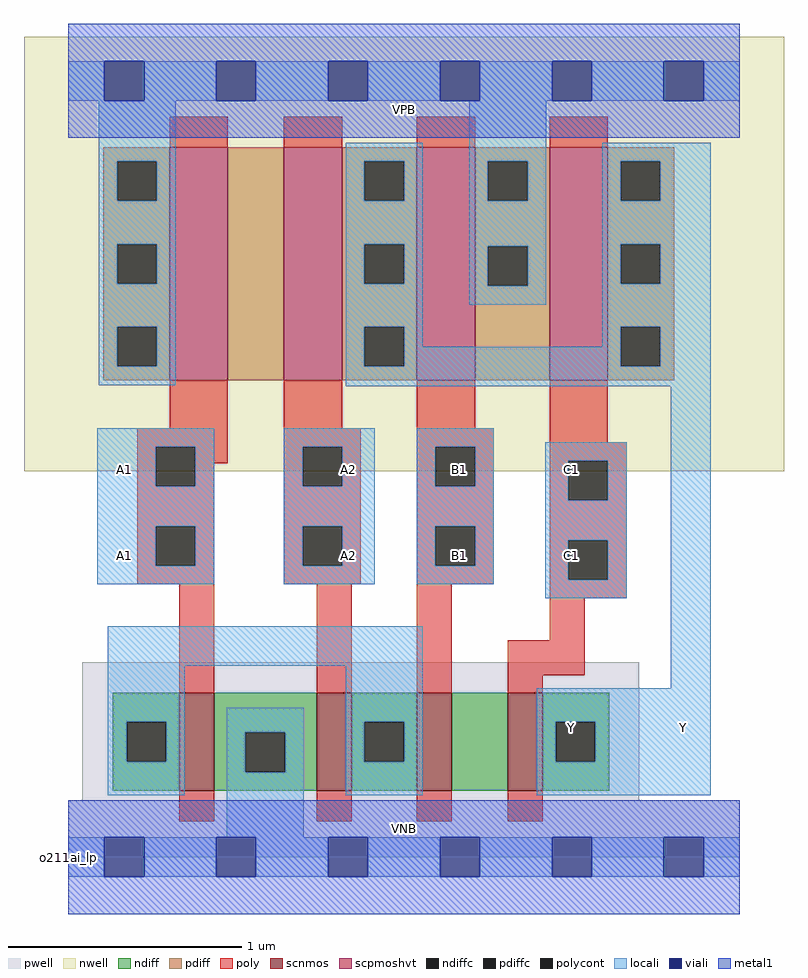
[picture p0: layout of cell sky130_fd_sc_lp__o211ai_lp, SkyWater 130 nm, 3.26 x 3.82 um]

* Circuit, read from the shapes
.subckt sky130_fd_sc_lp__o211ai_lp A1 A2 B1 C1 VGND VNB VPB VPWR Y
XM1 VGND A1 n1 VNB sky130_fd_pr__nfet_01v8 w=0.42 l=0.15
XM2 n1 A2 VGND VNB sky130_fd_pr__nfet_01v8 w=0.42 l=0.15
XM3 n2 B1 n1 VNB sky130_fd_pr__nfet_01v8 w=0.42 l=0.15
XM4 Y C1 n2 VNB sky130_fd_pr__nfet_01v8 w=0.42 l=0.15
XM5 n3 A1 VPWR VPB sky130_fd_pr__pfet_01v8_hvt w=1 l=0.25
XM6 Y A2 n3 VPB sky130_fd_pr__pfet_01v8_hvt w=1 l=0.25
XM7 VPWR B1 Y VPB sky130_fd_pr__pfet_01v8_hvt w=1 l=0.25
XM8 Y C1 VPWR VPB sky130_fd_pr__pfet_01v8_hvt w=1 l=0.25
.ends

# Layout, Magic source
magic
tech sky130A
magscale 1 2
<< nwell >>
rect -38 331 614 704
<< pwell >>
rect 12 49 490 167
rect 0 0 576 49
<< scnmos >>
rect 95 57 125 141
rect 213 57 243 141
rect 299 57 329 141
rect 377 57 407 141
<< scpmoshvt >>
rect 87 409 137 609
rect 185 409 235 609
rect 299 409 349 609
rect 413 409 463 609
<< ndiff >>
rect 38 116 95 141
rect 38 82 50 116
rect 84 82 95 116
rect 38 57 95 82
rect 125 107 213 141
rect 125 73 152 107
rect 186 73 213 107
rect 125 57 213 73
rect 243 116 299 141
rect 243 82 254 116
rect 288 82 299 116
rect 243 57 299 82
rect 329 57 377 141
rect 407 116 464 141
rect 407 82 418 116
rect 452 82 464 116
rect 407 57 464 82
<< pdiff >>
rect 30 597 87 609
rect 30 563 42 597
rect 76 563 87 597
rect 30 526 87 563
rect 30 492 42 526
rect 76 492 87 526
rect 30 455 87 492
rect 30 421 42 455
rect 76 421 87 455
rect 30 409 87 421
rect 137 409 185 609
rect 235 597 299 609
rect 235 563 254 597
rect 288 563 299 597
rect 235 526 299 563
rect 235 492 254 526
rect 288 492 299 526
rect 235 455 299 492
rect 235 421 254 455
rect 288 421 299 455
rect 235 409 299 421
rect 349 597 413 609
rect 349 563 360 597
rect 394 563 413 597
rect 349 524 413 563
rect 349 490 360 524
rect 394 490 413 524
rect 349 409 413 490
rect 463 597 520 609
rect 463 563 474 597
rect 508 563 520 597
rect 463 526 520 563
rect 463 492 474 526
rect 508 492 520 526
rect 463 455 520 492
rect 463 421 474 455
rect 508 421 520 455
rect 463 409 520 421
<< ndiffc >>
rect 50 82 84 116
rect 152 73 186 107
rect 254 82 288 116
rect 418 82 452 116
<< pdiffc >>
rect 42 563 76 597
rect 42 492 76 526
rect 42 421 76 455
rect 254 563 288 597
rect 254 492 288 526
rect 254 421 288 455
rect 360 563 394 597
rect 360 490 394 524
rect 474 563 508 597
rect 474 492 508 526
rect 474 421 508 455
<< poly >>
rect 87 609 137 635
rect 185 609 235 635
rect 299 609 349 635
rect 413 609 463 635
rect 87 368 137 409
rect 59 352 137 368
rect 59 318 75 352
rect 109 338 137 352
rect 185 368 235 409
rect 299 368 349 409
rect 185 352 251 368
rect 109 318 125 338
rect 59 284 125 318
rect 59 250 75 284
rect 109 250 125 284
rect 59 234 125 250
rect 185 318 201 352
rect 235 318 251 352
rect 185 284 251 318
rect 185 250 201 284
rect 235 250 251 284
rect 185 234 251 250
rect 299 352 365 368
rect 299 318 315 352
rect 349 318 365 352
rect 299 284 365 318
rect 299 250 315 284
rect 349 250 365 284
rect 299 234 365 250
rect 413 356 463 409
rect 413 340 479 356
rect 413 306 429 340
rect 463 306 479 340
rect 413 272 479 306
rect 413 238 429 272
rect 463 238 479 272
rect 95 141 125 234
rect 213 141 243 234
rect 299 141 329 234
rect 413 222 479 238
rect 413 186 443 222
rect 377 156 443 186
rect 377 141 407 156
rect 95 31 125 57
rect 213 31 243 57
rect 299 31 329 57
rect 377 31 407 57
<< polycont >>
rect 75 318 109 352
rect 75 250 109 284
rect 201 318 235 352
rect 201 250 235 284
rect 315 318 349 352
rect 315 250 349 284
rect 429 306 463 340
rect 429 238 463 272
<< locali >>
rect 0 649 31 683
rect 65 649 127 683
rect 161 649 223 683
rect 257 649 319 683
rect 353 649 415 683
rect 449 649 511 683
rect 545 649 576 683
rect 26 597 92 649
rect 26 563 42 597
rect 76 563 92 597
rect 26 526 92 563
rect 26 492 42 526
rect 76 492 92 526
rect 26 455 92 492
rect 26 421 42 455
rect 76 421 92 455
rect 26 405 92 421
rect 238 597 304 613
rect 238 563 254 597
rect 288 563 304 597
rect 238 526 304 563
rect 238 492 254 526
rect 288 492 304 526
rect 238 455 304 492
rect 344 597 410 649
rect 344 563 360 597
rect 394 563 410 597
rect 344 524 410 563
rect 344 490 360 524
rect 394 490 410 524
rect 344 474 410 490
rect 458 597 551 613
rect 458 563 474 597
rect 508 563 551 597
rect 458 526 551 563
rect 458 492 474 526
rect 508 492 551 526
rect 238 421 254 455
rect 288 438 304 455
rect 458 455 551 492
rect 458 438 474 455
rect 288 421 474 438
rect 508 421 551 455
rect 238 404 551 421
rect 25 352 125 368
rect 25 318 75 352
rect 109 318 125 352
rect 25 284 125 318
rect 25 250 75 284
rect 109 250 125 284
rect 25 234 125 250
rect 185 352 263 368
rect 185 318 201 352
rect 235 318 263 352
rect 185 284 263 318
rect 185 250 201 284
rect 235 250 263 284
rect 185 234 263 250
rect 299 352 365 368
rect 299 318 315 352
rect 349 318 365 352
rect 299 284 365 318
rect 299 250 315 284
rect 349 250 365 284
rect 299 234 365 250
rect 409 340 479 356
rect 409 306 429 340
rect 463 306 479 340
rect 409 272 479 306
rect 409 238 429 272
rect 463 238 479 272
rect 409 222 479 238
rect 34 164 304 198
rect 34 116 100 164
rect 34 82 50 116
rect 84 82 100 116
rect 34 53 100 82
rect 136 107 202 128
rect 136 73 152 107
rect 186 73 202 107
rect 136 17 202 73
rect 238 116 304 164
rect 517 145 551 404
rect 238 82 254 116
rect 288 82 304 116
rect 238 53 304 82
rect 402 116 551 145
rect 402 82 418 116
rect 452 82 551 116
rect 402 53 551 82
rect 0 -17 31 17
rect 65 -17 127 17
rect 161 -17 223 17
rect 257 -17 319 17
rect 353 -17 415 17
rect 449 -17 511 17
rect 545 -17 576 17
<< viali >>
rect 31 649 65 683
rect 127 649 161 683
rect 223 649 257 683
rect 319 649 353 683
rect 415 649 449 683
rect 511 649 545 683
rect 31 -17 65 17
rect 127 -17 161 17
rect 223 -17 257 17
rect 319 -17 353 17
rect 415 -17 449 17
rect 511 -17 545 17
<< metal1 >>
rect 0 683 576 715
rect 0 649 31 683
rect 65 649 127 683
rect 161 649 223 683
rect 257 649 319 683
rect 353 649 415 683
rect 449 649 511 683
rect 545 649 576 683
rect 0 617 576 649
rect 0 17 576 49
rect 0 -17 31 17
rect 65 -17 127 17
rect 161 -17 223 17
rect 257 -17 319 17
rect 353 -17 415 17
rect 449 -17 511 17
rect 545 -17 576 17
rect 0 -49 576 -17
<< labels >>
flabel pwell s 0 0 576 49 0 FreeSans 200 0 0 0 VNB
port 6 nsew ground bidirectional
flabel nwell s 0 617 576 666 0 FreeSans 200 0 0 0 VPB
port 7 nsew power bidirectional
rlabel comment s 0 0 0 0 4 o211ai_lp
flabel metal1 s 0 617 576 666 0 FreeSans 340 0 0 0 VPWR
port 8 nsew power bidirectional
flabel metal1 s 0 0 576 49 0 FreeSans 340 0 0 0 VGND
port 5 nsew ground bidirectional
flabel locali s 415 242 449 276 0 FreeSans 340 0 0 0 C1
port 4 nsew signal input
flabel locali s 415 316 449 350 0 FreeSans 340 0 0 0 C1
port 4 nsew signal input
flabel locali s 319 242 353 276 0 FreeSans 340 0 0 0 B1
port 3 nsew signal input
flabel locali s 319 316 353 350 0 FreeSans 340 0 0 0 B1
port 3 nsew signal input
flabel locali s 223 242 257 276 0 FreeSans 340 0 0 0 A2
port 2 nsew signal input
flabel locali s 223 316 257 350 0 FreeSans 340 0 0 0 A2
port 2 nsew signal input
flabel locali s 31 242 65 276 0 FreeSans 340 0 0 0 A1
port 1 nsew signal input
flabel locali s 31 316 65 350 0 FreeSans 340 0 0 0 A1
port 1 nsew signal input
flabel locali s 415 94 449 128 0 FreeSans 340 0 0 0 Y
port 9 nsew signal output
flabel locali s 511 94 545 128 0 FreeSans 340 0 0 0 Y
port 9 nsew signal output
<< properties >>
string LEFsite unit
string LEFclass CORE
string FIXED_BBOX 0 0 576 666
string GDS_FILE $PDKPATH/libs.ref/sky130_fd_sc_lp/gds/sky130_fd_sc_lp.gds
string LEFsymmetry X Y R90
string GDS_END 6860104
string GDS_START 6853996
<< end >>
